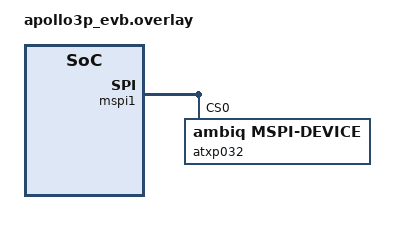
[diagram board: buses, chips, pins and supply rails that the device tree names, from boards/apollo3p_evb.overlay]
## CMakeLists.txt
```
# Copyright (c) 2024 Ambiq Micro Inc. <www.ambiq.com>
# SPDX-License-Identifier: Apache-2.0

cmake_minimum_required(VERSION 3.28.0)

find_package(Zephyr REQUIRED HINTS $ENV{ZEPHYR_BASE})
project(mspi_flash)

FILE(GLOB app_sources src/*.c)
target_sources(app PRIVATE ${app_sources})
```

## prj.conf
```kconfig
# Copyright (c) 2024 Ambiq Micro Inc. <www.ambiq.com>
# SPDX-License-Identifier: Apache-2.0

CONFIG_ZTEST=y
CONFIG_FLASH=y
CONFIG_FLASH_INIT_PRIORITY=70
```

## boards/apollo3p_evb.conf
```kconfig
# Copyright (c) 2024 Ambiq Micro Inc. <www.ambiq.com>
# SPDX-License-Identifier: Apache-2.0

CONFIG_MSPI_INIT_PRIORITY=40
CONFIG_FLASH_INIT_PRIORITY=50
CONFIG_PM_DEVICE=y
```

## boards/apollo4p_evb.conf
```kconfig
# Copyright (c) 2025 Ambiq Micro Inc. <www.ambiq.com>
# SPDX-License-Identifier: Apache-2.0

CONFIG_MSPI_INIT_PRIORITY=40
CONFIG_FLASH_INIT_PRIORITY=50
CONFIG_PM_DEVICE=y
CONFIG_PM_DEVICE_RUNTIME=y
```

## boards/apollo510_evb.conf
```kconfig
# Copyright (c) 2025 Ambiq Micro Inc. <www.ambiq.com>
# SPDX-License-Identifier: Apache-2.0

CONFIG_LOG=y
CONFIG_LOG_DEFAULT_LEVEL=0
CONFIG_FLASH_INIT_PRIORITY=50
```

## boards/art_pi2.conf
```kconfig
# SPDX-FileCopyrightText: Copyright The Zephyr Project Contributors
# SPDX-License-Identifier: Apache-2.0

CONFIG_TEST_LOGGING_DEFAULTS=n
CONFIG_LOG=n
CONFIG_MSPI_DMA=n
```

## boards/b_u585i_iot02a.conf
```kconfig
# Copyright (c) 2026 Ambiq Micro Inc. <www.ambiq.com>
# SPDX-License-Identifier: Apache-2.0

CONFIG_MSPI_MEMMAP=y
CONFIG_FLASH_MSPI_MEMMAP_READ=y

# Exercise the memory-mapped read path with the data cache enabled;
# the DCACHE peripheral covers the OCTOSPI memory-mapped region.
CONFIG_CACHE_MANAGEMENT=y
CONFIG_DCACHE=y
CONFIG_CACHE_STM32=y
CONFIG_DCACHE_LINE_SIZE=16
```

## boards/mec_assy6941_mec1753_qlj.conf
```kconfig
CONFIG_FLASH=y
CONFIG_FLASH_JESD216_API=y
CONFIG_FLASH_PAGE_LAYOUT=y
CONFIG_MSPI=y
CONFIG_MSPI_DMA=y
CONFIG_PM_DEVICE=y
```

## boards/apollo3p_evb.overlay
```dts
/*
 * Copyright (c) 2024 Ambiq Micro Inc. <www.ambiq.com>
 * SPDX-License-Identifier: Apache-2.0
 */

/ {
	aliases {
		mspi0 = &mspi1;
	};
};

&gpio32_63 {
	status = "okay";
};

&mspi1 {
	compatible = "ambiq,mspi-controller";
	pinctrl-0 = <&mspi1_default>;
	pinctrl-1 = <&mspi1_sleep>;
	pinctrl-2 = <&mspi1_flash>;
	pinctrl-names = "default", "sleep", "flash";
	status = "okay";

	ce-gpios = <&gpio32_63 18 GPIO_ACTIVE_LOW>;

	cmdq-buffer-location = ".mspi_buff";
	cmdq-buffer-size = <256>;

	atxp032: atxp032@0 {
		compatible = "ambiq,mspi-device", "mspi-atxp032";
		size = <DT_SIZE_M(32)>;
		reg = <0>;
		status = "okay";
		mspi-max-frequency = <48000000>;
		mspi-io-mode = "MSPI_IO_MODE_OCTAL";
		mspi-data-rate = "MSPI_DATA_RATE_SINGLE";
		mspi-hardware-ce-num = <0>;
		read-command = <0x0b>;
		write-command = <0x02>;
		command-length = "INSTR_1_BYTE";
		address-length = "ADDR_4_BYTE";
		rx-dummy = <8>;
		tx-dummy = <0>;
		memmap-config = <1 0 0 0>;
		ce-break-config = <0 0>;
		ambiq,timing-config-mask = <3>;
		ambiq,timing-config = <0 8 0 0 0 0 0 0>;
	};
};

&pinctrl {
	mspi1_sleep: mspi1_sleep {
		group1 {
			pinmux = <GPIO_P51>,
				 <GPIO_P52>,
				 <GPIO_P53>,
				 <GPIO_P54>,
				 <GPIO_P55>,
				 <GPIO_P56>,
				 <GPIO_P57>,
				 <GPIO_P58>,
				 <GPIO_P59>,
				 <GPIO_P69>,
				 <GPIO_P50>;
		};
	};

	mspi1_flash: mspi1_flash {
		group1 {
			pinmux = <MSPI1_0_P51>,
				 <MSPI1_1_P52>,
				 <MSPI1_2_P53>,
				 <MSPI1_3_P54>,
				 <MSPI1_4_P55>,
				 <MSPI1_5_P56>,
				 <MSPI1_6_P57>,
				 <MSPI1_7_P58>;
			drive-strength = "0.75";
			ambiq,iom-mspi = <0>;
			ambiq,iom-num = <1>;
		};

		group2 {
			pinmux = <MSPI1_8_P59>;
			drive-strength = "0.75";
			ambiq,iom-mspi = <0>;
			ambiq,iom-num = <2>;
		};

		group3 {
			pinmux = <NCE50_P50>;
			drive-strength = "1.0";
			ambiq,iom-mspi = <0>;
			ambiq,iom-num = <1>;
		};

		group4 {
			pinmux = <GPIO_P69>;
		};
	};
};
```

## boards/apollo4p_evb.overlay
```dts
/*
 * Copyright (c) 2024, Ambiq Micro Inc. <www.ambiq.com>
 *
 * SPDX-License-Identifier: Apache-2.0
 */

/ {
	aliases {
		mspi0 = &mspi1;
	};
};

&gpio64_95 {
	status = "okay";
};

&mspi1 {

	pinctrl-0 = <&mspi1_default>;
	pinctrl-1 = <&mspi1_sleep>;
	pinctrl-2 = <&mspi1_flash>;
	pinctrl-names = "default","sleep","flash";
	status = "okay";

	ce-gpios = <&gpio64_95 25 GPIO_ACTIVE_LOW>;

	cmdq-buffer-location = ".mspi_buff";
	cmdq-buffer-size = <256>;

	atxp032: atxp032@0 {
		compatible = "ambiq,mspi-device", "mspi-atxp032";
		size = <DT_SIZE_M(32)>;
		reg = <0>;
		status = "okay";
		mspi-max-frequency = <48000000>;
		mspi-io-mode = "MSPI_IO_MODE_OCTAL";
		mspi-data-rate = "MSPI_DATA_RATE_SINGLE";
		mspi-hardware-ce-num = <0>;
		read-command = <0x0B>;
		write-command = <0x02>;
		command-length = "INSTR_1_BYTE";
		address-length = "ADDR_4_BYTE";
		rx-dummy = <8>;
		tx-dummy = <0>;
		xip-config = <1 0 0 0>;
		ce-break-config = <0 0>;
		ambiq,timing-config-mask = <3>;
		ambiq,timing-config = <0 8 0 0 0 0 0 0>;
	};
};

&pinctrl {
	mspi1_sleep: mspi1_sleep{
		group1 {
			pinmux = <GPIO_P37>,
				 <GPIO_P38>,
				 <GPIO_P39>,
				 <GPIO_P40>,
				 <GPIO_P41>,
				 <GPIO_P42>,
				 <GPIO_P43>,
				 <GPIO_P44>,
				 <GPIO_P45>,
				 <GPIO_P89>;
		};
	};
	mspi1_flash: mspi1_flash{
		group1 {
			pinmux = <MSPI1_0_P37>,
				 <MSPI1_1_P38>,
				 <MSPI1_2_P39>,
				 <MSPI1_3_P40>,
				 <MSPI1_4_P41>,
				 <MSPI1_5_P42>,
				 <MSPI1_6_P43>,
				 <MSPI1_7_P44>;
			drive-strength = "1.0";
		};
		group2 {
			pinmux = <MSPI1_8_P45>;
			drive-strength = "1.0";
			ambiq,iom-nce-module = <0>;
			ambiq,iom-num = <2>;
		};
		group3 {
			pinmux = <NCE89_P89>;
			drive-strength = "0.5";
			ambiq,iom-num = <1>;
			ambiq,iom-nce-module = <34>;
		};
	};
};
```

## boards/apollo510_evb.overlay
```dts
/*
 * Copyright (c) 2025, Ambiq Micro Inc. <www.ambiq.com>
 *
 * SPDX-License-Identifier: Apache-2.0
 */

/ {
	aliases {
		mspi0 = &mspi1;
	};
};

&mspi1 {
	status = "okay";
};

&is25wx064 {
	status = "okay";
};
```

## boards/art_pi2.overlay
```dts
/*
 * SPDX-FileCopyrightText: Copyright The Zephyr Project Contributors
 * SPDX-License-Identifier: Apache-2.0
 */

/ {
	aliases {
		mspi0 = &xspi2;
	};
};
```

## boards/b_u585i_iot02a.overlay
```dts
/*
 * Copyright (c) 2026 STMicroelectronics
 *
 * SPDX-License-Identifier: Apache-2.0
 */

/ {
	aliases {
		mspi0 = &octospi2;
	};
};
```

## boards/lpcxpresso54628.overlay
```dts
/*
 * SPDX-FileCopyrightText: Copyright The Zephyr Project Contributors
 * SPDX-License-Identifier: Apache-2.0
 */

/ {
	aliases {
		mspi0 = &spifi;
	};
};
```

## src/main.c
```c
/*
 * Copyright (c) 2024 Ambiq Micro Inc. <www.ambiq.com>
 * SPDX-License-Identifier: Apache-2.0
 */

#include <zephyr/device.h>
#include <zephyr/drivers/mspi.h>
#include <zephyr/drivers/mspi_emul.h>
#include <zephyr/drivers/flash.h>
#include <zephyr/ztest.h>
#include <zephyr/cache.h>

#define MSPI_BUS_NODE                 DT_ALIAS(mspi0)

#define MSPI_FLASH_TEST_REGION_OFFSET 0x0

#define MSPI_FLASH_SECTOR_SIZE        4096

#define MSPI_FLASH_TEST_SIZE          3000

static const struct device *mspi_devices[] = {
	DT_FOREACH_CHILD_STATUS_OKAY_SEP(MSPI_BUS_NODE, DEVICE_DT_GET, (,))
};

static uint8_t expected[MSPI_FLASH_TEST_SIZE] __dcacheline_aligned;
static uint8_t actual[MSPI_FLASH_TEST_SIZE] __dcacheline_aligned;

static void prepare_test_pattern(uint32_t pattern_index, uint8_t *buff, uint32_t len)
{
	uint32_t *ui32ptr = (uint32_t *)buff;
	uint8_t *ui8ptr = (uint8_t *)buff;

	switch (pattern_index) {
	case 0:
		/* 0x5555AAAA */
		for (uint32_t i = 0; i < len / 4; i++) {
			ui32ptr[i] = (0x5555AAAA);
		}
		break;
	case 1:
		/*  0xFFFF0000 */
		for (uint32_t i = 0; i < len / 4; i++) {
			ui32ptr[i] = (0xFFFF0000);
		}
		break;
	case 2:
		/* walking */
		for (uint32_t i = 0; i < len; i++) {
			ui8ptr[i] = 0x01 << (i % 8);
		}
		break;
	case 3:
		/* incremental from 1 */
		for (uint32_t i = 0; i < len; i++) {
			ui8ptr[i] = ((i + 1) & 0xFF);
		}
		break;
	case 4:
		/* decremental from 0xff */
		for (uint32_t i = 0; i < len; i++) {
			/* decrement starting from 0xff */
			ui8ptr[i] = (0xff - i) & 0xFF;
		}
		break;
	default:
		/* incremental from 1 */
		for (uint32_t i = 0; i < len; i++) {
			ui8ptr[i] = ((i + 1) & 0xFF);
		}
		break;
	}
}

static int test_multi_sector_rw(const struct device *flash_dev)
{
	int rc = 0;
	const struct flash_pages_layout *layout = NULL;
	size_t layout_size = 0;
	size_t min_page_size = -1;
	size_t offs;

	TC_PRINT("\n===================================================================\n");
	TC_PRINT("Perform test on multiple consecutive sectors on %s\n", flash_dev->name);

	TC_PRINT("\nTest 0: Get Flash page layout\n");

	const struct flash_driver_api *api = flash_dev->api;

	api->page_layout(flash_dev, &layout, &layout_size);

	if (layout && layout_size) {
		TC_PRINT("----pages-------size----\n");
		for (int i = 0; i < layout_size; ++i) {
			TC_PRINT("%2d: 0x%-8X  0x%-8x\n", i, layout[i].pages_count,
				 layout[i].pages_size);
			min_page_size = MIN(min_page_size, layout[i].pages_size);
		}
	} else {
		TC_PRINT("Empty flash_pages_layout!\n");
		return TC_FAIL;
	}

	TC_PRINT("\nPage size selected: %d\n", min_page_size);

	for (int i = 0; i < MSPI_FLASH_TEST_SIZE; i += min_page_size) {
		prepare_test_pattern(i % 5, expected + i,
				     MIN(min_page_size, MSPI_FLASH_TEST_SIZE - i));
	}

	TC_PRINT("\nTest 1: Flash erase\n");

	/* Full flash erase if MSPI_FLASH_TEST_REGION_OFFSET = 0 and
	 * MSPI_FLASH_SECTOR_SIZE = flash size
	 * Erase 2 sectors for check for erase of consecutive sectors
	 */
	rc = flash_erase(flash_dev, MSPI_FLASH_TEST_REGION_OFFSET, MSPI_FLASH_SECTOR_SIZE * 2);
	if (rc != 0) {
		TC_PRINT("Flash erase failed! %d\n", rc);
		return TC_FAIL;
	}
	/* Read the content and check for erased */
	memset(actual, 0, MSPI_FLASH_TEST_SIZE);

	offs = MSPI_FLASH_TEST_REGION_OFFSET;
	while (offs < MSPI_FLASH_TEST_REGION_OFFSET + 2 * MSPI_FLASH_SECTOR_SIZE) {
		rc = flash_read(flash_dev, offs, actual, MSPI_FLASH_TEST_SIZE);
		if (rc != 0) {
			TC_PRINT("Flash read failed! %d\n", rc);
			return TC_FAIL;
		}
		if (actual[0] != 0xff) {
			TC_PRINT("Flash erase failed at offset 0x%x got 0x%x\n", offs,
					actual[0]);
			return TC_FAIL;
		}
		offs += MSPI_FLASH_SECTOR_SIZE;
	}
	TC_PRINT("Flash erase succeeded!\n");

	TC_PRINT("\nTest 2: Flash write\n");

	offs = MSPI_FLASH_TEST_REGION_OFFSET;
	while (offs < MSPI_FLASH_TEST_REGION_OFFSET + 2 * MSPI_FLASH_SECTOR_SIZE) {
		TC_PRINT("\nAttempting to write %zu bytes at offset 0x%x\n", MSPI_FLASH_TEST_SIZE,
			 offs);
		rc = flash_write(flash_dev, offs, expected, MSPI_FLASH_TEST_SIZE);
		if (rc != 0) {
			TC_PRINT("Flash write failed! %d\n", rc);
			return TC_FAIL;
		}

		memset(actual, 0, MSPI_FLASH_TEST_SIZE);
		rc = flash_read(flash_dev, offs, actual, MSPI_FLASH_TEST_SIZE);
		if (rc != 0) {
			TC_PRINT("Flash read failed! %d\n", rc);
			return TC_FAIL;
		}

		if (memcmp(expected, actual, MSPI_FLASH_TEST_SIZE) == 0) {
			TC_PRINT("Data read matches data written. Good!!\n");
		} else {
			const uint8_t *wp = expected;
			const uint8_t *rp = actual;
			const uint8_t *rpe = rp + MSPI_FLASH_TEST_SIZE;
			int count = 0;

			TC_PRINT("Data read does not match data written!!\n");
			while (rp < rpe) {
				if (*rp != *wp) {
					TC_PRINT("%08x wrote %02x read %02x MISMATCH\n",
						 (uint32_t)(offs + (rp - actual)), *wp, *rp);
					count++;
				}
				if (count > 100) {
					TC_PRINT("Too many data mismatch!!\n");
					break;
				}
				++rp;
				++wp;
			}
			return TC_FAIL;
		}
		offs += MSPI_FLASH_SECTOR_SIZE;
	}

	return TC_PASS;
}

ZTEST(mspi_flash, test_multi_sector_rw)
{

	for (int idx = 0; idx < ARRAY_SIZE(mspi_devices); ++idx) {

		zassert_true(device_is_ready(mspi_devices[idx]),
					     "flash%d is not ready", idx);
		zassert_true(test_multi_sector_rw(mspi_devices[idx]) == TC_PASS);

	}

}

ZTEST_SUITE(mspi_flash, NULL, NULL, NULL, NULL, NULL);
```
